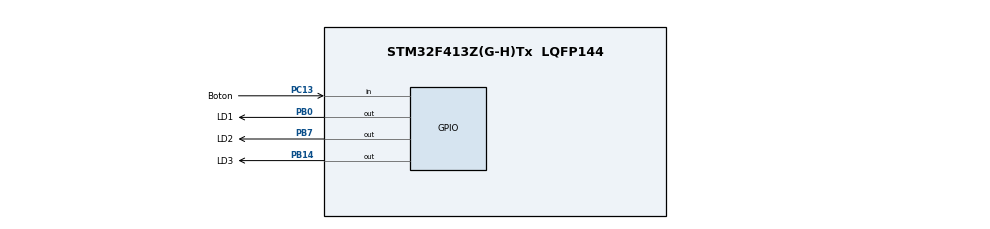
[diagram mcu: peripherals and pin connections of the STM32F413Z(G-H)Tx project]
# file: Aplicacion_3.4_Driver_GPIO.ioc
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Mcu.Family=STM32F4
Mcu.Name=STM32F413Z(G-H)Tx
Mcu.Package=LQFP144
NVIC.PriorityGroup=NVIC_PRIORITYGROUP_4
PB0.GPIO_Label=LD1
PB0.Signal=GPIO_Output
PB14.GPIO_Label=LD3
PB14.Signal=GPIO_Output
PB7.GPIO_Label=LD2
PB7.Signal=GPIO_Output
PC13.GPIO_Label=Boton
PC13.Signal=GPIO_Input
PH0\ -\ OSC_IN.Mode=HSE-External-Oscillator
PH0\ -\ OSC_IN.Signal=RCC_OSC_IN
PH1\ -\ OSC_OUT.Mode=HSE-External-Oscillator
PH1\ -\ OSC_OUT.Signal=RCC_OSC_OUT
ProjectManager.HeapSize=0x200
ProjectManager.StackSize=0x400
ProjectManager.TargetToolchain=STM32CubeIDE
RCC.CortexFreq_Value=16000000
RCC.USBFreq_Value=96000000
RCC.VCOOutputFreq_Value=192000000
board=custom

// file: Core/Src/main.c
/* USER CODE BEGIN Header */
/**
  ******************************************************************************
  * @file           : main.c
  * @brief          : Main program body
  ******************************************************************************
  * @attention
  *
  * Copyright (c) 2026 STMicroelectronics.
  * All rights reserved.
  *
  * This software is licensed under terms that can be found in the LICENSE file
  * in the root directory of this software component.
  * If no LICENSE file comes with this software, it is provided AS-IS.
  *
  ******************************************************************************
  */
/* USER CODE END Header */
#include "main.h"
#include "API_GPIO.h"

void SystemClock_Config(void);
//static void MX_GPIO_Init(void);

int main(void)
{

  /* MCU Configuration--------------------------------------------------------*/

  /* Reset of all peripherals, Initializes the Flash interface and the Systick. */
  HAL_Init();

  /* USER CODE BEGIN Init */
  uint16_t leds[3] = {LD1_Pin, LD2_Pin, LD3_Pin};
  uint16_t tiempos[4] = {100, 250, 500, 1000};   // los 4 tiempos de alternancia

  buttonStatus_t Boton; // guarda el estado del botón leido en cada vuelta
  buttonStatus_t Boton_Anterior = false; //guarda cómo estaba el botón en la vuelta anterior, arranca no presionado
  uint8_t indice_Tiempo = 0;   // 0=Tiempo1(100ms), 1=Tiempo2(250ms), 2=Tiempo3(500ms), 3=Tiempo4(1000ms)

  /* USER CODE END Init */

  /* Configure the system clock */
  SystemClock_Config();

  /* Initialize all configured peripherals */
  MX_GPIO_Init();

  /* Infinite loop */
  while (1)
  {

    /* USER CODE BEGIN 3 */
	  // Lectura y detección del apretón del botón, usando la función del driver
	 	   Boton = readButton_GPIO();
	 	   if (Boton == true && Boton_Anterior == false)
	 	   {
	 	     indice_Tiempo = indice_Tiempo + 1;
	 	     if (indice_Tiempo > 3)
	 	     {
	 	       indice_Tiempo = 0;   // vuelve al Tiempo 1
	 	     }
	 	   }
	 	   Boton_Anterior = Boton;

	 	   // Parpadeo de los 3 leds juntos
	 	   writeLedOn_GPIO(leds[0]);
	 	   writeLedOn_GPIO(leds[1]);
	 	   writeLedOn_GPIO(leds[2]);
	 	   HAL_Delay(tiempos[indice_Tiempo]);

	 	   writeLedOff_GPIO(leds[0]);
	 	   writeLedOff_GPIO(leds[1]);
	 	   writeLedOff_GPIO(leds[2]);
	 	   HAL_Delay(tiempos[indice_Tiempo]);
	 	 }
	   /* USER CODE END 3 */
	 }

void SystemClock_Config(void)
{
  RCC_OscInitTypeDef RCC_OscInitStruct = {0};
  RCC_ClkInitTypeDef RCC_ClkInitStruct = {0};

  /** Configure the main internal regulator output voltage
  */
  __HAL_RCC_PWR_CLK_ENABLE();
  __HAL_PWR_VOLTAGESCALING_CONFIG(PWR_REGULATOR_VOLTAGE_SCALE1);

  /** Initializes the RCC Oscillators according to the specified parameters
  * in the RCC_OscInitTypeDef structure.
  */
  RCC_OscInitStruct.OscillatorType = RCC_OSCILLATORTYPE_HSI;
  RCC_OscInitStruct.HSIState = RCC_HSI_ON;
  RCC_OscInitStruct.HSICalibrationValue = RCC_HSICALIBRATION_DEFAULT;
  RCC_OscInitStruct.PLL.PLLState = RCC_PLL_NONE;
  if (HAL_RCC_OscConfig(&RCC_OscInitStruct) != HAL_OK)
  {
    Error_Handler();
  }

  /** Initializes the CPU, AHB and APB buses clocks
  */
  RCC_ClkInitStruct.ClockType = RCC_CLOCKTYPE_HCLK|RCC_CLOCKTYPE_SYSCLK
                              |RCC_CLOCKTYPE_PCLK1|RCC_CLOCKTYPE_PCLK2;
  RCC_ClkInitStruct.SYSCLKSource = RCC_SYSCLKSOURCE_HSI;
  RCC_ClkInitStruct.AHBCLKDivider = RCC_SYSCLK_DIV1;
  RCC_ClkInitStruct.APB1CLKDivider = RCC_HCLK_DIV1;
  RCC_ClkInitStruct.APB2CLKDivider = RCC_HCLK_DIV1;

  if (HAL_RCC_ClockConfig(&RCC_ClkInitStruct, FLASH_LATENCY_0) != HAL_OK)
  {
    Error_Handler();
  }
}

void Error_Handler(void)
{
  __disable_irq();
  while (1)
  {
  }
}
